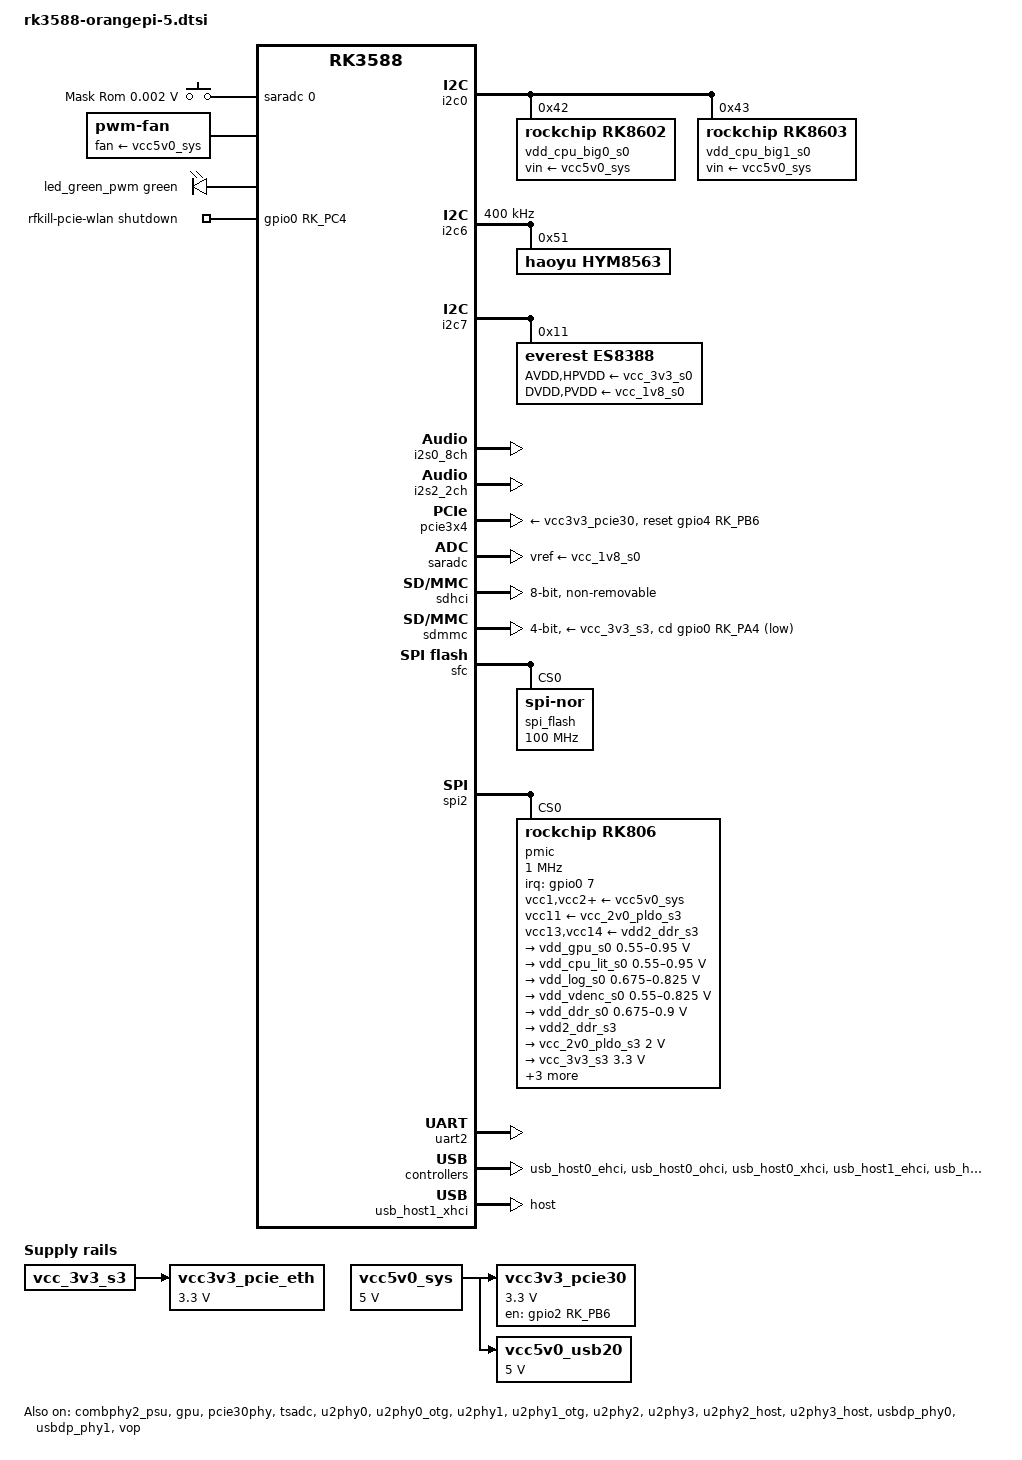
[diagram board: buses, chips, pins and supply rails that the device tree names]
// SPDX-License-Identifier: (GPL-2.0+ OR MIT)
/*
 * Copyright (c) 2023 Ondřej Jirman <megi@xff.cz>
 */

/dts-v1/;

#include <dt-bindings/gpio/gpio.h>
#include <dt-bindings/leds/common.h>
#include <dt-bindings/input/input.h>
#include <dt-bindings/pinctrl/rockchip.h>
#include <dt-bindings/usb/pd.h>
#include "rk3588.dtsi"

/ {
	aliases {
		mmc0 = &sdhci;
		mmc1 = &sdmmc;
	};

	chosen {
		stdout-path = "serial2:1500000n8";
	};

	adc-keys-0 {
		compatible = "adc-keys";
		io-channels = <&saradc 0>;
		io-channel-names = "buttons";
		keyup-threshold-microvolt = <1800000>;
		poll-interval = <100>;

		button-maskrom {
			label = "Mask Rom";
			linux,code = <KEY_SETUP>;
			press-threshold-microvolt = <2000>;
		};
	};

	recovery_button: adc-keys-1 {
		compatible = "adc-keys";
		io-channels = <&saradc 1>;
		io-channel-names = "buttons";
		keyup-threshold-microvolt = <1800000>;
		poll-interval = <100>;
		status = "disabled";

		button-recovery {
			label = "Recovery";
			linux,code = <KEY_VENDOR>;
			press-threshold-microvolt = <2000>;
		};
	};

	speaker_amp: speaker-audio-amplifier {
		compatible = "simple-audio-amplifier";
		sound-name-prefix = "Speaker Amp";
		status = "disabled";
	};

	headphone_amp: headphones-audio-amplifier {
		compatible = "simple-audio-amplifier";
		sound-name-prefix = "Headphones Amp";
	};

	gpio-leds {
		compatible = "gpio-leds";

		led_blue_gpio: led {
			color = <LED_COLOR_ID_BLUE>;
			function = LED_FUNCTION_INDICATOR;
			function-enumerator = <1>;
			status = "disabled";
		};
	};

	fan: pwm-fan {
		compatible = "pwm-fan";
		cooling-levels = <0 70 75 80 100>;
		fan-supply = <&vcc5v0_sys>;
		#cooling-cells = <2>;
	};

	pwm-leds {
		compatible = "pwm-leds";

		led_blue_pwm: led-1 {
			color = <LED_COLOR_ID_BLUE>;
			function = LED_FUNCTION_STATUS;
			linux,default-trigger = "heartbeat";
			max-brightness = <255>;
			status = "disabled";
		};

		led_green_pwm: led-2 {
			color = <LED_COLOR_ID_GREEN>;
			function = LED_FUNCTION_INDICATOR;
			function-enumerator = <2>;
			max-brightness = <255>;
		};
	};

	rfkill {
		compatible = "rfkill-gpio";
		label = "rfkill-pcie-wlan";
		radio-type = "wlan";
		shutdown-gpios = <&gpio0 RK_PC4 GPIO_ACTIVE_HIGH>;
	};

	analog_sound: sound {
		compatible = "simple-audio-card";
		simple-audio-card,name = "Analog";
		simple-audio-card,format = "i2s";
		simple-audio-card,mclk-fs = <256>;
		simple-audio-card,bitclock-master = <&daicpu>;
		simple-audio-card,frame-master = <&daicpu>;
		/*TODO: SARADC_IN3 is used as MIC detection / key input */

		daicpu: simple-audio-card,cpu {
			sound-dai = <&i2s0_8ch>;
			system-clock-frequency = <12288000>;
		};

		daicodec: simple-audio-card,codec {
			sound-dai = <&es8388>;
			system-clock-frequency = <12288000>;
		};
	};

	vcc3v3_pcie30: regulator-vcc3v3-pcie30 {
		compatible = "regulator-fixed";
		enable-active-high;
		gpios = <&gpio2 RK_PB6 GPIO_ACTIVE_HIGH>;
		regulator-name = "vcc3v3_pcie30";
		regulator-min-microvolt = <3300000>;
		regulator-max-microvolt = <3300000>;
		startup-delay-us = <5000>;
		vin-supply = <&vcc5v0_sys>;
	};

	vcc3v3_pcie_eth: regulator-vcc3v3-pcie-eth {
		compatible = "regulator-fixed";
		regulator-name = "vcc3v3_pcie_eth";
		regulator-min-microvolt = <3300000>;
		regulator-max-microvolt = <3300000>;
		startup-delay-us = <50000>;
		vin-supply = <&vcc_3v3_s3>;
	};

	vcc3v3_wf: regulator-vcc3v3-wf {
		compatible = "regulator-fixed";
		enable-active-high;
		gpios = <&gpio2 RK_PC5 GPIO_ACTIVE_HIGH>;
		regulator-name = "vcc3v3_wf";
		regulator-min-microvolt = <3300000>;
		regulator-max-microvolt = <3300000>;
		startup-delay-us = <50000>;
		vin-supply = <&vcc5v0_sys>;
		status = "disabled";
	};

	vcc5v0_sys: regulator-vcc5v0-sys {
		compatible = "regulator-fixed";
		regulator-name = "vcc5v0_sys";
		regulator-always-on;
		regulator-boot-on;
		regulator-min-microvolt = <5000000>;
		regulator-max-microvolt = <5000000>;
	};

	vcc5v0_usb20: regulator-vcc5v0-usb20 {
		compatible = "regulator-fixed";
		enable-active-high;
		regulator-name = "vcc5v0_usb20";
		regulator-min-microvolt = <5000000>;
		regulator-max-microvolt = <5000000>;
		vin-supply = <&vcc5v0_sys>;
	};
};

&combphy2_psu {
	status = "okay";
};

&cpu_b0 {
	cpu-supply = <&vdd_cpu_big0_s0>;
};

&cpu_b1 {
	cpu-supply = <&vdd_cpu_big0_s0>;
};

&cpu_b2 {
	cpu-supply = <&vdd_cpu_big1_s0>;
};

&cpu_b3 {
	cpu-supply = <&vdd_cpu_big1_s0>;
};

&cpu_l0 {
	cpu-supply = <&vdd_cpu_lit_s0>;
};

&cpu_l1 {
	cpu-supply = <&vdd_cpu_lit_s0>;
};

&cpu_l2 {
	cpu-supply = <&vdd_cpu_lit_s0>;
};

&cpu_l3 {
	cpu-supply = <&vdd_cpu_lit_s0>;
};

&gpu {
	mali-supply = <&vdd_gpu_s0>;
	status = "okay";
};

&i2c0 {
	pinctrl-names = "default";
	pinctrl-0 = <&i2c0m2_xfer>;
	status = "okay";

	vdd_cpu_big0_s0: regulator@42 {
		compatible = "rockchip,rk8602";
		reg = <0x42>;
		fcs,suspend-voltage-selector = <1>;
		regulator-name = "vdd_cpu_big0_s0";
		regulator-always-on;
		regulator-boot-on;
		regulator-min-microvolt = <550000>;
		regulator-max-microvolt = <1050000>;
		regulator-ramp-delay = <2300>;
		vin-supply = <&vcc5v0_sys>;

		regulator-state-mem {
			regulator-off-in-suspend;
		};
	};

	vdd_cpu_big1_s0: regulator@43 {
		compatible = "rockchip,rk8603", "rockchip,rk8602";
		reg = <0x43>;
		fcs,suspend-voltage-selector = <1>;
		regulator-name = "vdd_cpu_big1_s0";
		regulator-always-on;
		regulator-boot-on;
		regulator-min-microvolt = <550000>;
		regulator-max-microvolt = <1050000>;
		regulator-ramp-delay = <2300>;
		vin-supply = <&vcc5v0_sys>;

		regulator-state-mem {
			regulator-off-in-suspend;
		};
	};
};

&i2c6 {
	clock-frequency = <400000>;
	status = "okay";

	hym8563: rtc@51 {
		compatible = "haoyu,hym8563";
		reg = <0x51>;
		#clock-cells = <0>;
		clock-output-names = "hym8563";
		wakeup-source;
	};
};

&i2c7 {
	status = "okay";

	/* PLDO2 vcca 1.8V, BUCK8 gated by PLDO2 being enabled */
	es8388: audio-codec@11 {
		compatible = "everest,es8388";
		reg = <0x11>;
		clocks = <&cru I2S0_8CH_MCLKOUT>;
		AVDD-supply = <&vcc_3v3_s0>;
		DVDD-supply = <&vcc_1v8_s0>;
		HPVDD-supply = <&vcc_3v3_s0>;
		PVDD-supply = <&vcc_1v8_s0>;
		assigned-clocks = <&cru I2S0_8CH_MCLKOUT>;
		assigned-clock-rates = <12288000>;
		#sound-dai-cells = <0>;
	};
};

&i2s0_8ch {
	pinctrl-names = "default";
	pinctrl-0 = <&i2s0_lrck
		     &i2s0_mclk
		     &i2s0_sclk
		     &i2s0_sdi0
		     &i2s0_sdo0>;
	status = "okay";
};

&i2s2_2ch {
	pinctrl-names = "default";
	pinctrl-0 = <&i2s2m0_lrck
		     &i2s2m0_sclk
		     &i2s2m0_sdi
		     &i2s2m0_sdo>;
	status = "okay";
};

&package_thermal {
	polling-delay = <1000>;

	cooling-maps {
		map0 {
			trip = <&package_fan0>;
			cooling-device = <&fan THERMAL_NO_LIMIT 1>;
		};

		map1 {
			trip = <&package_fan1>;
			cooling-device = <&fan 2 THERMAL_NO_LIMIT>;
		};
	};

	trips {
		package_fan0: package-fan0 {
			temperature = <55000>;
			hysteresis = <2000>;
			type = "active";
		};

		package_fan1: package-fan1 {
			temperature = <65000>;
			hysteresis = <2000>;
			type = "active";
		};
	};
};

&pcie30phy {
	status = "okay";
};

&pcie3x4 {
	reset-gpios = <&gpio4 RK_PB6 GPIO_ACTIVE_HIGH>;
	vpcie3v3-supply = <&vcc3v3_pcie30>;
	status = "okay";
};

&saradc {
	vref-supply = <&vcc_1v8_s0>;
	status = "okay";
};

&sdhci {
	bus-width = <8>;
	no-sdio;
	no-sd;
	non-removable;
	max-frequency = <200000000>;
	mmc-hs400-1_8v;
	mmc-hs400-enhanced-strobe;
	status = "okay";
};

&sdmmc {
	bus-width = <4>;
	cap-sd-highspeed;
	cd-gpios = <&gpio0 RK_PA4 GPIO_ACTIVE_LOW>;
	disable-wp;
	max-frequency = <150000000>;
	no-sdio;
	no-mmc;
	sd-uhs-sdr104;
	vmmc-supply = <&vcc_3v3_s3>;
	vqmmc-supply = <&vccio_sd_s0>;
	status = "okay";
};

&sfc {
	status = "okay";

	spi_flash: flash@0 {
		compatible = "jedec,spi-nor";
		reg = <0x0>;
		spi-max-frequency = <100000000>;
		spi-rx-bus-width = <4>;
		spi-tx-bus-width = <1>;
	};
};

&spi2 {
	assigned-clocks = <&cru CLK_SPI2>;
	assigned-clock-rates = <200000000>;
	num-cs = <1>;
	pinctrl-names = "default";
	pinctrl-0 = <&spi2m2_cs0 &spi2m2_pins>;
	status = "okay";

	pmic@0 {
		compatible = "rockchip,rk806";
		reg = <0x0>;
		interrupt-parent = <&gpio0>;
		interrupts = <7 IRQ_TYPE_LEVEL_LOW>;
		pinctrl-names = "default";
		pinctrl-0 = <&pmic_pins>, <&rk806_dvs1_null>,
			    <&rk806_dvs2_null>, <&rk806_dvs3_null>;
		spi-max-frequency = <1000000>;
		system-power-controller;

		vcc1-supply = <&vcc5v0_sys>;
		vcc2-supply = <&vcc5v0_sys>;
		vcc3-supply = <&vcc5v0_sys>;
		vcc4-supply = <&vcc5v0_sys>;
		vcc5-supply = <&vcc5v0_sys>;
		vcc6-supply = <&vcc5v0_sys>;
		vcc7-supply = <&vcc5v0_sys>;
		vcc8-supply = <&vcc5v0_sys>;
		vcc9-supply = <&vcc5v0_sys>;
		vcc10-supply = <&vcc5v0_sys>;
		vcc11-supply = <&vcc_2v0_pldo_s3>;
		vcc12-supply = <&vcc5v0_sys>;
		vcc13-supply = <&vdd2_ddr_s3>;
		vcc14-supply = <&vdd2_ddr_s3>;
		vcca-supply = <&vcc5v0_sys>;

		gpio-controller;
		#gpio-cells = <2>;

		rk806_dvs1_null: dvs1-null-pins {
			pins = "gpio_pwrctrl1";
			function = "pin_fun0";
		};

		rk806_dvs2_null: dvs2-null-pins {
			pins = "gpio_pwrctrl2";
			function = "pin_fun0";
		};

		rk806_dvs3_null: dvs3-null-pins {
			pins = "gpio_pwrctrl3";
			function = "pin_fun0";
		};

		regulators {
			vdd_gpu_s0: dcdc-reg1 {
				regulator-name = "vdd_gpu_s0";
				regulator-boot-on;
				regulator-enable-ramp-delay = <400>;
				regulator-min-microvolt = <550000>;
				regulator-max-microvolt = <950000>;
				regulator-ramp-delay = <12500>;

				regulator-state-mem {
					regulator-off-in-suspend;
				};
			};

			vdd_cpu_lit_s0: dcdc-reg2 {
				regulator-name = "vdd_cpu_lit_s0";
				regulator-always-on;
				regulator-boot-on;
				regulator-min-microvolt = <550000>;
				regulator-max-microvolt = <950000>;
				regulator-ramp-delay = <12500>;

				regulator-state-mem {
					regulator-off-in-suspend;
				};
			};

			vdd_log_s0: dcdc-reg3 {
				regulator-name = "vdd_log_s0";
				regulator-always-on;
				regulator-boot-on;
				regulator-min-microvolt = <675000>;
				regulator-max-microvolt = <825000>;
				regulator-ramp-delay = <12500>;

				regulator-state-mem {
					regulator-off-in-suspend;
					regulator-suspend-microvolt = <750000>;
				};
			};

			vdd_vdenc_s0: dcdc-reg4 {
				regulator-name = "vdd_vdenc_s0";
				regulator-always-on;
				regulator-boot-on;
				regulator-min-microvolt = <550000>;
				regulator-max-microvolt = <825000>;
				regulator-ramp-delay = <12500>;

				regulator-state-mem {
					regulator-off-in-suspend;
				};
			};

			vdd_ddr_s0: dcdc-reg5 {
				regulator-name = "vdd_ddr_s0";
				regulator-always-on;
				regulator-boot-on;
				regulator-min-microvolt = <675000>;
				regulator-max-microvolt = <900000>;
				regulator-ramp-delay = <12500>;

				regulator-state-mem {
					regulator-off-in-suspend;
					regulator-suspend-microvolt = <850000>;
				};
			};

			vdd2_ddr_s3: dcdc-reg6 {
				regulator-name = "vdd2_ddr_s3";
				regulator-always-on;
				regulator-boot-on;

				regulator-state-mem {
					regulator-on-in-suspend;
				};
			};

			vcc_2v0_pldo_s3: dcdc-reg7 {
				regulator-name = "vdd_2v0_pldo_s3";
				regulator-always-on;
				regulator-boot-on;
				regulator-min-microvolt = <2000000>;
				regulator-max-microvolt = <2000000>;
				regulator-ramp-delay = <12500>;

				regulator-state-mem {
					regulator-on-in-suspend;
					regulator-suspend-microvolt = <2000000>;
				};
			};

			vcc_3v3_s3: dcdc-reg8 {
				regulator-name = "vcc_3v3_s3";
				regulator-always-on;
				regulator-boot-on;
				regulator-min-microvolt = <3300000>;
				regulator-max-microvolt = <3300000>;

				regulator-state-mem {
					regulator-on-in-suspend;
					regulator-suspend-microvolt = <3300000>;
				};
			};

			vddq_ddr_s0: dcdc-reg9 {
				regulator-name = "vddq_ddr_s0";
				regulator-always-on;
				regulator-boot-on;

				regulator-state-mem {
					regulator-off-in-suspend;
				};
			};

			vcc_1v8_s3: dcdc-reg10 {
				regulator-name = "vcc_1v8_s3";
				regulator-always-on;
				regulator-boot-on;
				regulator-min-microvolt = <1800000>;
				regulator-max-microvolt = <1800000>;

				regulator-state-mem {
					regulator-on-in-suspend;
					regulator-suspend-microvolt = <1800000>;
				};
			};

			avcc_1v8_s0: pldo-reg1 {
				regulator-name = "avcc_1v8_s0";
				regulator-always-on;
				regulator-boot-on;
				regulator-min-microvolt = <1800000>;
				regulator-max-microvolt = <1800000>;

				regulator-state-mem {
					regulator-off-in-suspend;
					regulator-suspend-microvolt = <1800000>;
				};
			};

			/* shorted to avcc_1v8_s0 on the board */
			vcc_1v8_s0: pldo-reg2 {
				regulator-name = "vcc_1v8_s0";
				regulator-always-on;
				regulator-boot-on;
				regulator-min-microvolt = <1800000>;
				regulator-max-microvolt = <1800000>;

				regulator-state-mem {
					regulator-off-in-suspend;
					regulator-suspend-microvolt = <1800000>;
				};
			};

			avdd_1v2_s0: pldo-reg3 {
				regulator-name = "avdd_1v2_s0";
				regulator-always-on;
				regulator-boot-on;
				regulator-min-microvolt = <1200000>;
				regulator-max-microvolt = <1200000>;

				regulator-state-mem {
					regulator-off-in-suspend;
				};
			};

			vcc_3v3_s0: pldo-reg4 {
				regulator-name = "vcc_3v3_s0";
				regulator-always-on;
				regulator-boot-on;
				regulator-min-microvolt = <3300000>;
				regulator-max-microvolt = <3300000>;
				regulator-ramp-delay = <12500>;

				regulator-state-mem {
					regulator-off-in-suspend;
				};
			};

			vccio_sd_s0: pldo-reg5 {
				regulator-name = "vccio_sd_s0";
				regulator-always-on;
				regulator-boot-on;
				regulator-min-microvolt = <1800000>;
				regulator-max-microvolt = <3300000>;
				regulator-ramp-delay = <12500>;

				regulator-state-mem {
					regulator-off-in-suspend;
				};
			};

			pldo6_s3: pldo-reg6 {
				regulator-name = "pldo6_s3";
				regulator-always-on;
				regulator-boot-on;
				regulator-min-microvolt = <1800000>;
				regulator-max-microvolt = <1800000>;

				regulator-state-mem {
					regulator-on-in-suspend;
					regulator-suspend-microvolt = <1800000>;
				};
			};

			vdd_0v75_s3: nldo-reg1 {
				regulator-name = "vdd_0v75_s3";
				regulator-always-on;
				regulator-boot-on;
				regulator-min-microvolt = <750000>;
				regulator-max-microvolt = <750000>;

				regulator-state-mem {
					regulator-on-in-suspend;
					regulator-suspend-microvolt = <750000>;
				};
			};

			vdd_ddr_pll_s0: nldo-reg2 {
				regulator-name = "vdd_ddr_pll_s0";
				regulator-always-on;
				regulator-boot-on;
				regulator-min-microvolt = <850000>;
				regulator-max-microvolt = <850000>;

				regulator-state-mem {
					regulator-off-in-suspend;
					regulator-suspend-microvolt = <850000>;
				};
			};

			avdd_0v75_s0: nldo-reg3 {
				regulator-name = "avdd_0v75_s0";
				regulator-always-on;
				regulator-boot-on;
				/*
				 * The schematic mentions that actual setting
				 * should be 0.8375V. RK3588 datasheet specifies
				 * maximum as 0.825V. So we set datasheet max
				 * here.
				 */
				regulator-min-microvolt = <825000>;
				regulator-max-microvolt = <825000>;

				regulator-state-mem {
					regulator-off-in-suspend;
				};
			};

			vdd_0v85_s0: nldo-reg4 {
				regulator-name = "vdd_0v85_s0";
				regulator-always-on;
				regulator-boot-on;
				regulator-min-microvolt = <850000>;
				regulator-max-microvolt = <850000>;

				regulator-state-mem {
					regulator-off-in-suspend;
				};
			};

			vdd_0v75_s0: nldo-reg5 {
				regulator-name = "vdd_0v75_s0";
				regulator-always-on;
				regulator-boot-on;
				regulator-min-microvolt = <750000>;
				regulator-max-microvolt = <750000>;

				regulator-state-mem {
					regulator-off-in-suspend;
				};
			};
		};
	};
};

&tsadc {
	status = "okay";
};

&u2phy0 {
	status = "okay";
};

&u2phy0_otg {
	status = "okay";
};

&u2phy1 {
	status = "okay";
};

&u2phy1_otg {
	status = "okay";
};

&u2phy2 {
	status = "okay";
};

&u2phy3 {
	status = "okay";
};

&u2phy2_host {
	phy-supply = <&vcc5v0_usb20>;
	status = "okay";
};

&u2phy3_host {
	phy-supply = <&vcc5v0_usb20>;
	status = "okay";
};

&uart2 {
	pinctrl-0 = <&uart2m0_xfer>;
	status = "okay";
};

&usbdp_phy0 {
	status = "okay";
};

&usbdp_phy1 {
	status = "okay";
};

&usb_host0_ehci {
	status = "okay";
};

&usb_host0_ohci {
	status = "okay";
};

&usb_host0_xhci {
	status = "okay";
};

&usb_host1_ehci {
	status = "okay";
};

&usb_host1_ohci {
	status = "okay";
};

&usb_host1_xhci {
	dr_mode = "host";
	status = "okay";
};

&vop_mmu {
	status = "okay";
};

&vop {
	status = "okay";
};
